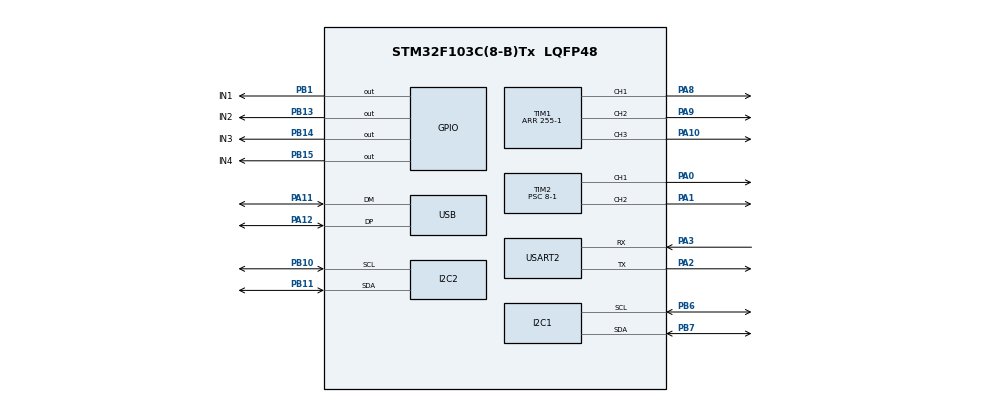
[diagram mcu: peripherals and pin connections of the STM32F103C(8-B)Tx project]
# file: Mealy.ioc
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I2C2.I2C_Mode=I2C_Fast
Mcu.Family=STM32F1
Mcu.Name=STM32F103C(8-B)Tx
Mcu.Package=LQFP48
NVIC.PriorityGroup=NVIC_PRIORITYGROUP_4
NVIC.TIM3_IRQn=true\:0\:0\:false\:false\:true\:true\:true\:true
PA0-WKUP.Signal=S_TIM2_CH1_ETR
PA1.Signal=S_TIM2_CH2
PA10.Signal=S_TIM1_CH3
PA11.Mode=Device
PA11.Signal=USB_DM
PA12.Mode=Device
PA12.Signal=USB_DP
PA2.Mode=Asynchronous
PA2.Signal=USART2_TX
PA3.Mode=Asynchronous
PA3.Signal=USART2_RX
PA8.Signal=S_TIM1_CH1
PA9.Signal=S_TIM1_CH2
PB1.GPIO_Label=IN1
PB1.Signal=GPIO_Output
PB10.Mode=I2C
PB10.Signal=I2C2_SCL
PB11.Mode=I2C
PB11.Signal=I2C2_SDA
PB13.GPIO_Label=IN2
PB13.Signal=GPIO_Output
PB14.GPIO_Label=IN3
PB14.Signal=GPIO_Output
PB15.GPIO_Label=IN4
PB15.Signal=GPIO_Output
PB6.Mode=I2C
PB6.Signal=I2C1_SCL
PB7.Mode=I2C
PB7.Signal=I2C1_SDA
PD0-OSC_IN.Mode=HSE-External-Oscillator
PD0-OSC_IN.Signal=RCC_OSC_IN
PD1-OSC_OUT.Mode=HSE-External-Oscillator
PD1-OSC_OUT.Signal=RCC_OSC_OUT
ProjectManager.HeapSize=0x200
ProjectManager.StackSize=0x400
ProjectManager.TargetToolchain=STM32CubeIDE
RCC.APB1Freq_Value=8000000
RCC.APB2CLKDivider=RCC_HCLK_DIV8
RCC.APB2Freq_Value=1000000
RCC.APB2TimFreq_Value=2000000
RCC.PLLSourceVirtualString=RCC_PLLSOURCE_HSI_DIV2
SH.S_TIM1_CH1.0=TIM1_CH1,PWM Generation1 CH1
SH.S_TIM1_CH2.0=TIM1_CH2,PWM Generation2 CH2
SH.S_TIM1_CH3.0=TIM1_CH3,PWM Generation3 CH3
SH.S_TIM2_CH1_ETR.0=TIM2_CH1,PWM Generation1 CH1
SH.S_TIM2_CH2.0=TIM2_CH2,PWM Generation2 CH2
TIM1.AutoReloadPreload=TIM_AUTORELOAD_PRELOAD_ENABLE
TIM1.Channel-PWM\ Generation1\ CH1=TIM_CHANNEL_1
TIM1.Channel-PWM\ Generation2\ CH2=TIM_CHANNEL_2
TIM1.Channel-PWM\ Generation3\ CH3=TIM_CHANNEL_3
TIM1.Period=255-1
TIM2.AutoReloadPreload=TIM_AUTORELOAD_PRELOAD_ENABLE
TIM2.Channel-PWM\ Generation1\ CH1=TIM_CHANNEL_1
TIM2.Channel-PWM\ Generation2\ CH2=TIM_CHANNEL_2
TIM2.Period=1000
TIM2.Prescaler=8-1
TIM3.AutoReloadPreload=TIM_AUTORELOAD_PRELOAD_ENABLE
TIM3.Period=1000-1
TIM3.Prescaler=8000-1
USART2.VirtualMode=VM_ASYNC
VP_SYS_VS_ND.Mode=No_Debug
VP_TIM1_VS_ClockSourceINT.Mode=Internal
VP_TIM2_VS_ClockSourceINT.Mode=Internal
VP_TIM3_VS_ClockSourceINT.Mode=Internal
board=custom

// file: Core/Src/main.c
/* USER CODE BEGIN Header */
/**
  ******************************************************************************
  * @file           : main.c
  * @brief          : Main program body
  ******************************************************************************
  * @attention
  *
  * Copyright (c) 2024 STMicroelectronics.
  * All rights reserved.
  *
  * This software is licensed under terms that can be found in the LICENSE file
  * in the root directory of this software component.
  * If no LICENSE file comes with this software, it is provided AS-IS.
  *
  ******************************************************************************
  */
/* USER CODE END Header */
#include "main.h"

/* USER CODE BEGIN Includes */
#include "MPU6050.h"
#include "motor.h"
#include "pid.h"
#include "RGB.h"
#include "ssd1306.h"
#include "fonts.h"
#include "splash_screen.h"
#include <stdio.h>
#include <stdarg.h>
#include <math.h>
#include <string.h>

/* USER CODE END Includes */

/* USER CODE BEGIN PD */

#define ONE_G 				(9.81) 	// acceleration due to gravity
#define LOOP_DELAY 			(10)	// infinite loop delay
#define SPLASH_DELAY 		2000 	// interval when displaying splash screen

// PID defines
#define MOTOR_REFERENCE 200	// define the motor reference speed
float motor_reference_angle = -4; // the imu is placed such that a change in x axis drives the tilt
//float sample_rate = 0.000125; // 0.125 ms TODO: use system clock to get sample rate
unsigned long long sampling_frequency = 8000000;

// motor defines
#define LEFT_DC_MOTOR 0
#define RIGHT_DC_MOTOR 1

// create motor PID instances
// left motor PID instance
pid_instance left_motor_pid_instance;
pid_instance* p_left_motor_instance = &left_motor_pid_instance;

// right motor PID instance
pid_instance right_motor_pid_instance;
pid_instance* p_right_motor_instance = &right_motor_pid_instance;

// RGB LED variables
// create an RGB LED instance
RGB_instance mealy_rgb;
RGB_instance* p_mealy_rgb = &mealy_rgb;

// a color struct to hold different colors
RGB_color mealy_colors;
RGB_color* p_mealy_colors = &mealy_colors;
uint8_t seconds = 0;
uint32_t last_time = 0;

/* USER CODE END PD */

I2C_HandleTypeDef hi2c1;
I2C_HandleTypeDef hi2c2;

TIM_HandleTypeDef htim1;
TIM_HandleTypeDef htim2;
TIM_HandleTypeDef htim3;

UART_HandleTypeDef huart2;

/* USER CODE BEGIN PV */
char msg[20] = "";
char mpu_data[100];
char data[40] = ""; // sd card test char array
char debug[40];

// create accelerometer struct
MPU6050 acc;
MPU6050* p_acc = &acc; // pointer to accelerometer
float x_acc_ms, y_acc_ms, z_acc_ms; // acceleration converted to m/s^2

// struct to hold both accelerometer data and the gyroscope data
typedef struct {
	float x_acc;
	float y_acc;
	float z_acc;
	float gyro_x;
	float gyro_y;
	float gyro_z;
} SensorData;

SensorData sensorData;

// use this pointer to store raw sensor data
SensorData* p_SensorData = &sensorData;

// struct to hold filtered sensor data - angles to be specific
// these are angle estimates, not accurate angles
typedef struct {
	float x_angle_estimate;
	float y_angle_estimate;
	float z_angle_estimate;

} FilteredAngles;
FilteredAngles filtered_angles;
FilteredAngles* p_filtered_angles = &filtered_angles;

// variables to store the rotation angles of the sensor
unsigned long 	last_read_time = 0;
float			last_x_angle; // filtered angles
float 			last_y_angle;
float			last_z_angle;
float			last_gyro_x_angle; // store the gyro angles to compare drift
float			last_gyro_y_angle;
float 			last_gyro_z_angle;

// radians to degrees conversion factor
float RADS_TO_DEG = 180.0 / 3.14159;
float alpha = 0.96;

// function to set the current angle readings to the last read angles
void set_last_read_angle_data(
		unsigned long time,
		float x,
		float y,
		float z,
		float x_gyro,
		float y_gyro,
		float z_gyro
		) {
	last_read_time = time;
	last_x_angle = x;
	last_y_angle = y;
	last_z_angle = z;
	last_gyro_x_angle = x_gyro;
	last_gyro_y_angle = y_gyro;
	last_gyro_z_angle = z_gyro;
}

// calibration variables
float	base_x_accel;
float 	base_y_accel;
float	base_z_accel;
float 	base_x_gyro;
float	base_y_gyro;
float	base_z_gyro;

// function to callibrate sensors
void callibrate_sensor(){
	int		num_readings = 10;
	float 	x_accel = 0;
	float	y_accel = 0;
	float 	z_accel	= 0;
	float	x_gyro	= 0;
	float 	y_gyro	= 0;
	float	z_gyro	= 0;

	for(int i = 0; i < num_readings; i++){
		// read accelerometer
		MPU6050_ReadAcceleration(&acc);

		// Read gyroscope values
		MPU6050_ReadGyroscope(&acc);

		// convert accelerometer readings to m/s^2
		x_acc_ms = p_acc->acc_mps2[0] * ONE_G;
		y_acc_ms = p_acc->acc_mps2[1] * ONE_G;
		z_acc_ms = p_acc->acc_mps2[2] * ONE_G;

		x_accel += x_acc_ms;
		y_accel += y_acc_ms;
		z_accel += z_acc_ms;
		x_gyro += p_acc->gyro_data[0];
		y_gyro += p_acc->gyro_data[1];
		z_gyro += p_acc->gyro_data[2];

		HAL_Delay(100);

	}

	// average the readings
	x_accel /= num_readings;
	y_accel /= num_readings;
	z_accel /= num_readings;
	x_gyro /= num_readings;
	y_gyro /= num_readings;
	z_gyro /= num_readings;

	// Store the raw calibration values globally
	base_x_accel = x_accel;
	base_y_accel = y_accel;
	base_z_accel = z_accel;
	base_x_gyro = x_gyro;
	base_y_gyro = y_gyro;
	base_z_gyro = z_gyro;

	myPrintf("Callibration done!\r");

}

/* USER CODE END PV */

void SystemClock_Config(void);
static void MX_GPIO_Init(void);
static void MX_I2C1_Init(void);
static void MX_TIM2_Init(void);
static void MX_USART2_UART_Init(void);
static void MX_TIM1_Init(void);
static void MX_TIM3_Init(void);
static void MX_I2C2_Init(void);
/* USER CODE BEGIN PFP */
void myPrintf(const char *fmt, ...); // function to send formatted data over serial
void setDutyCycle(int dutyCycle); // function to set PWM duty cycle

// OLED
// display on start screen sequence before I start running
void sayHello();

/* USER CODE END PFP */

/* USER CODE BEGIN 0 */
void myPrintf(const char* fmt, ...){
	static char buffer[256];
	va_list args;
	va_start(args, fmt);
	vsnprintf(buffer, sizeof(buffer), fmt, args);
	va_end(args);

	int len = strlen(buffer);
	HAL_UART_Transmit(&huart2, (uint8_t*)buffer, len, -1);
}

void sayHello() {

	// display logo bitmap
	SSD1306_Clear();
	SSD1306_DrawBitmap(0,0,splash_screen,128,64,1);
	SSD1306_UpdateScreen();

	HAL_Delay(SPLASH_DELAY);

	// hello world message
	SSD1306_Clear();
	SSD1306_GotoXY (30, 20);
	SSD1306_Puts ("Hello", &Font_11x18, 1);
	SSD1306_GotoXY (20, 40);
	SSD1306_Puts ("world :)", &Font_11x18, 1);
	SSD1306_UpdateScreen(); //display

	HAL_Delay(SPLASH_DELAY);

	// introduction
	SSD1306_Clear();
	SSD1306_GotoXY(15, 16);
	SSD1306_Puts("My name is", &Font_11x18, 1);
	SSD1306_GotoXY(25, 35);
	SSD1306_Puts("Mealy...", &Font_11x18, 1);
	SSD1306_UpdateScreen(); //display

	HAL_Delay(SPLASH_DELAY);

	SSD1306_Clear();
	SSD1306_GotoXY(20, 16);
	SSD1306_Puts("A self ",&Font_11x18 , 1);
	SSD1306_GotoXY(10, 38);
	SSD1306_Puts("balancing",&Font_11x18, 1);
	SSD1306_UpdateScreen(); //display

	HAL_Delay(SPLASH_DELAY);

	SSD1306_Clear();
	SSD1306_GotoXY(40, 25);
	SSD1306_Puts("robot...", &Font_11x18, 1);
	SSD1306_UpdateScreen(); //display

	HAL_Delay(SPLASH_DELAY);

	SSD1306_Clear();
	SSD1306_DrawBitmap(0,0,powered_by,128,64,1);
	SSD1306_UpdateScreen();

	HAL_Delay(SPLASH_DELAY);

}

/* USER CODE END 0 */

int main(void)
{

  /* MCU Configuration--------------------------------------------------------*/

  /* Reset of all peripherals, Initializes the Flash interface and the Systick. */
  HAL_Init();

  /* Configure the system clock */
  SystemClock_Config();

  /* Initialize all configured peripherals */
  MX_GPIO_Init();
  MX_I2C1_Init();
  MX_TIM2_Init();
  MX_USART2_UART_Init();
  MX_TIM1_Init();
  MX_TIM3_Init();
  MX_I2C2_Init();
  /* USER CODE BEGIN 2 */

  // start motors
  motor_init(LEFT_DC_MOTOR);
  motor_init(RIGHT_DC_MOTOR);
  motor_start(LEFT_DC_MOTOR, CW, 0);
  motor_start(RIGHT_DC_MOTOR, CW, 0);

  // set pID gains
  set_pid(p_left_motor_instance, 90, 700, 0.5);
  set_pid(p_right_motor_instance, 90, 700, 0.5);

  /*-------------------------INERTIAL MEASUREMENT UNIT FUNCTIONS--------------------------------*/
  MPU6050_Initialise(&acc, &hi2c1); // TODO: check initialization status here

  // calibrate the sensor
  callibrate_sensor();

  // initialize the sensor angles to known values
  set_last_read_angle_data(HAL_GetTick(), 0, 0, 0, 0, 0, 0);

  //-------------RGB---------------------

  // timer to generate 1 second pulses - used to run RGB time state machine
	HAL_TIM_Base_Start_IT(&htim3);
	TIM3->CCR1 = 500; // set timer 3 duty cycle to 50%

	// set parameters for RGB LED
	// for setting fade interval
	last_time = HAL_GetTick();

	RGB_set_parameters(p_mealy_rgb, &htim1, last_time);

	RGB_init(p_mealy_rgb);

	RGB_color_code white = WHITE;
	RGB_color_code green = GREEN;
	RGB_color_code red = RED;

	p_mealy_colors->red_value = 0;
	p_mealy_colors->green_value = 0;
	p_mealy_colors->blue_value = 255;

	// initialize OLED screen
	SSD1306_Init();

	sayHello();

  /* USER CODE END 2 */

  /* Infinite loop */
  while (1)
  {

    /* USER CODE BEGIN 3 */

	  // read accelerometer values
	  	MPU6050_ReadAcceleration(&acc);

	  	// Read gyroscope values
	  	MPU6050_ReadGyroscope(&acc);

	  	// convert accelerometer readings to m/s^2
	  	x_acc_ms = p_acc->acc_mps2[0] * ONE_G;
	  	y_acc_ms = p_acc->acc_mps2[1] * ONE_G;
	  	z_acc_ms = p_acc->acc_mps2[2] * ONE_G;

	  	/*-------------- get orientation - tilt on x and y axis */

	  	// get the time of reading for rotation computations
	  	unsigned long t_now = HAL_GetTick();

	  	// set accelerometer data
	  	p_SensorData->x_acc = x_acc_ms;
	  	p_SensorData->y_acc = y_acc_ms;
	  	p_SensorData->z_acc = z_acc_ms;

	  	// these gyro values are in degrees per second
	  	p_SensorData->gyro_x = p_acc->gyro_data[0] - base_x_gyro;
	  	p_SensorData->gyro_y = p_acc->gyro_data[1] - base_y_gyro;
	  	p_SensorData->gyro_z = p_acc->gyro_data[2] - base_z_gyro;

	    // compute angles from the accelerometer
	  	float accel_angle_y = atan(-1 * p_SensorData->x_acc/sqrt(pow(p_SensorData->y_acc, 2) + pow(p_SensorData->z_acc, 2))) * RADS_TO_DEG;
	  	float accel_angle_x = atan(p_SensorData->y_acc / sqrt( pow(p_SensorData->x_acc, 2) + pow(p_SensorData->z_acc, 2) )) * RADS_TO_DEG;
	  	//float accel_angle_z = 0;

	  	float dt = (t_now - last_read_time) / 1000.0 ; // last read time in seconds

	  	// compute the filtered gyro angles
	  	float gyro_angle_x = p_SensorData->gyro_x * dt + last_x_angle;
	  	float gyro_angle_y = p_SensorData->gyro_y * dt + last_y_angle;
	  	float gyro_angle_z = p_SensorData->gyro_z * dt + last_z_angle;

	  	/* Apply complementary filter */
	  	p_filtered_angles->x_angle_estimate = alpha * gyro_angle_x + (1 - alpha) * (accel_angle_x);
	  	p_filtered_angles->y_angle_estimate = alpha * gyro_angle_y + (1 - alpha) * (accel_angle_y);
	  	p_filtered_angles->z_angle_estimate = gyro_angle_z; // accelerometer doesn't give z-angle

	  	// update the saved data with the latest values
	  	set_last_read_angle_data(
	  			t_now,
	  			p_filtered_angles->x_angle_estimate,
	  			p_filtered_angles->y_angle_estimate,
	  			p_filtered_angles->z_angle_estimate,
	  			gyro_angle_x,
	  			gyro_angle_y,
	  			gyro_angle_z
	  			);

	  	// according to how i've mounted the MPU, i'm interested in x-axis angle
	  	sprintf(mpu_data,
	  			"x: %.2f\r\n",
				p_filtered_angles->x_angle_estimate
	  			);

	  	// run motors
	  	apply_pid(p_left_motor_instance, motor_reference_angle - p_filtered_angles->x_angle_estimate,  sampling_frequency);
	  	apply_pid(p_right_motor_instance, motor_reference_angle - p_filtered_angles->x_angle_estimate, sampling_frequency);

	  	if(p_left_motor_instance->output < 0 ) {

//	  		sprintf(debug, "l-cw:%d\r\n", p_left_motor_instance->output);
//	  		HAL_UART_Transmit(&huart2, (uint8_t*)debug, 20, 100);

	  		motor_set_dir(LEFT_DC_MOTOR, CW);
	  		motor_set_speed(LEFT_DC_MOTOR, p_left_motor_instance->output * -1);
	  	}
	  	if (p_right_motor_instance->output < 0 ) {

//	  		sprintf(debug, "r-cw:%d\r\n", p_right_motor_instance->output);
//	  		HAL_UART_Transmit(&huart2, (uint8_t*)debug, 20, 100);

	  		motor_set_dir(RIGHT_DC_MOTOR, CW);
	  		motor_set_speed(RIGHT_DC_MOTOR, p_right_motor_instance->output * -1);
	  	}

	  	if(p_left_motor_instance->output > 0 ) {

			motor_set_dir(LEFT_DC_MOTOR, CCW);
			motor_set_speed(LEFT_DC_MOTOR, p_left_motor_instance->output);
		}

	  	if (p_right_motor_instance->output > 0 ) {
//	  		sprintf(debug, "r-ccw:%d\r\n", p_right_motor_instance->output);
//	  		HAL_UART_Transmit(&huart2, (uint8_t*)debug, 20, 100);

			motor_set_dir(RIGHT_DC_MOTOR, CCW);
			motor_set_speed(RIGHT_DC_MOTOR, p_right_motor_instance->output);
		}

		//---------------RGB-----------------
		// change pulse color after set time interval
	  if(seconds < 15) {
		  // pulse a different color
		  // fade white
		  pulse(p_mealy_rgb, red, last_time);

	  } else if(seconds < 30) {
		  // fade green
		  pulse(p_mealy_rgb, green, last_time);
	  } else if(seconds > 30) {
		  // fade red
		  pulse(p_mealy_rgb, white , last_time);
	  }

	  if(seconds == 60) {

		  // reset seconds counter every minute
		  seconds = 0;
	  }

	  HAL_UART_Transmit(&huart2, (uint8_t*)mpu_data, 100, 100);

  }
  /* USER CODE END 3 */
}

void SystemClock_Config(void)
{
  RCC_OscInitTypeDef RCC_OscInitStruct = {0};
  RCC_ClkInitTypeDef RCC_ClkInitStruct = {0};

  /** Initializes the RCC Oscillators according to the specified parameters
  * in the RCC_OscInitTypeDef structure.
  */
  RCC_OscInitStruct.OscillatorType = RCC_OSCILLATORTYPE_HSI;
  RCC_OscInitStruct.HSIState = RCC_HSI_ON;
  RCC_OscInitStruct.HSICalibrationValue = RCC_HSICALIBRATION_DEFAULT;
  RCC_OscInitStruct.PLL.PLLState = RCC_PLL_NONE;
  if (HAL_RCC_OscConfig(&RCC_OscInitStruct) != HAL_OK)
  {
    Error_Handler();
  }

  /** Initializes the CPU, AHB and APB buses clocks
  */
  RCC_ClkInitStruct.ClockType = RCC_CLOCKTYPE_HCLK|RCC_CLOCKTYPE_SYSCLK
                              |RCC_CLOCKTYPE_PCLK1|RCC_CLOCKTYPE_PCLK2;
  RCC_ClkInitStruct.SYSCLKSource = RCC_SYSCLKSOURCE_HSI;
  RCC_ClkInitStruct.AHBCLKDivider = RCC_SYSCLK_DIV1;
  RCC_ClkInitStruct.APB1CLKDivider = RCC_HCLK_DIV1;
  RCC_ClkInitStruct.APB2CLKDivider = RCC_HCLK_DIV8;

  if (HAL_RCC_ClockConfig(&RCC_ClkInitStruct, FLASH_LATENCY_0) != HAL_OK)
  {
    Error_Handler();
  }
}

static void MX_I2C1_Init(void)
{

  hi2c1.Instance = I2C1;
  hi2c1.Init.ClockSpeed = 100000;
  hi2c1.Init.DutyCycle = I2C_DUTYCYCLE_2;
  hi2c1.Init.OwnAddress1 = 0;
  hi2c1.Init.AddressingMode = I2C_ADDRESSINGMODE_7BIT;
  hi2c1.Init.DualAddressMode = I2C_DUALADDRESS_DISABLE;
  hi2c1.Init.OwnAddress2 = 0;
  hi2c1.Init.GeneralCallMode = I2C_GENERALCALL_DISABLE;
  hi2c1.Init.NoStretchMode = I2C_NOSTRETCH_DISABLE;
  if (HAL_I2C_Init(&hi2c1) != HAL_OK)
  {
    Error_Handler();
  }

}

static void MX_I2C2_Init(void)
{

  hi2c2.Instance = I2C2;
  hi2c2.Init.ClockSpeed = 400000;
  hi2c2.Init.DutyCycle = I2C_DUTYCYCLE_2;
  hi2c2.Init.OwnAddress1 = 0;
  hi2c2.Init.AddressingMode = I2C_ADDRESSINGMODE_7BIT;
  hi2c2.Init.DualAddressMode = I2C_DUALADDRESS_DISABLE;
  hi2c2.Init.OwnAddress2 = 0;
  hi2c2.Init.GeneralCallMode = I2C_GENERALCALL_DISABLE;
  hi2c2.Init.NoStretchMode = I2C_NOSTRETCH_DISABLE;
  if (HAL_I2C_Init(&hi2c2) != HAL_OK)
  {
    Error_Handler();
  }

}

static void MX_TIM1_Init(void)
{

  TIM_ClockConfigTypeDef sClockSourceConfig = {0};
  TIM_MasterConfigTypeDef sMasterConfig = {0};
  TIM_OC_InitTypeDef sConfigOC = {0};
  TIM_BreakDeadTimeConfigTypeDef sBreakDeadTimeConfig = {0};

  htim1.Instance = TIM1;
  htim1.Init.Prescaler = 0;
  htim1.Init.CounterMode = TIM_COUNTERMODE_UP;
  htim1.Init.Period = 255-1;
  htim1.Init.ClockDivision = TIM_CLOCKDIVISION_DIV1;
  htim1.Init.RepetitionCounter = 0;
  htim1.Init.AutoReloadPreload = TIM_AUTORELOAD_PRELOAD_ENABLE;
  if (HAL_TIM_Base_Init(&htim1) != HAL_OK)
  {
    Error_Handler();
  }
  sClockSourceConfig.ClockSource = TIM_CLOCKSOURCE_INTERNAL;
  if (HAL_TIM_ConfigClockSource(&htim1, &sClockSourceConfig) != HAL_OK)
  {
    Error_Handler();
  }
  if (HAL_TIM_PWM_Init(&htim1) != HAL_OK)
  {
    Error_Handler();
  }
  sMasterConfig.MasterOutputTrigger = TIM_TRGO_RESET;
  sMasterConfig.MasterSlaveMode = TIM_MASTERSLAVEMODE_DISABLE;
  if (HAL_TIMEx_MasterConfigSynchronization(&htim1, &sMasterConfig) != HAL_OK)
  {
    Error_Handler();
  }
  sConfigOC.OCMode = TIM_OCMODE_PWM1;
  sConfigOC.Pulse = 0;
  sConfigOC.OCPolarity = TIM_OCPOLARITY_HIGH;
  sConfigOC.OCNPolarity = TIM_OCNPOLARITY_HIGH;
  sConfigOC.OCFastMode = TIM_OCFAST_DISABLE;
  sConfigOC.OCIdleState = TIM_OCIDLESTATE_RESET;
  sConfigOC.OCNIdleState = TIM_OCNIDLESTATE_RESET;
  if (HAL_TIM_PWM_ConfigChannel(&htim1, &sConfigOC, TIM_CHANNEL_1) != HAL_OK)
  {
    Error_Handler();
  }
  if (HAL_TIM_PWM_ConfigChannel(&htim1, &sConfigOC, TIM_CHANNEL_2) != HAL_OK)
  {
    Error_Handler();
  }
  if (HAL_TIM_PWM_ConfigChannel(&htim1, &sConfigOC, TIM_CHANNEL_3) != HAL_OK)
  {
    Error_Handler();
  }
  sBreakDeadTimeConfig.OffStateRunMode = TIM_OSSR_DISABLE;
  sBreakDeadTimeConfig.OffStateIDLEMode = TIM_OSSI_DISABLE;
  sBreakDeadTimeConfig.LockLevel = TIM_LOCKLEVEL_OFF;
  sBreakDeadTimeConfig.DeadTime = 0;
  sBreakDeadTimeConfig.BreakState = TIM_BREAK_DISABLE;
  sBreakDeadTimeConfig.BreakPolarity = TIM_BREAKPOLARITY_HIGH;
  sBreakDeadTimeConfig.AutomaticOutput = TIM_AUTOMATICOUTPUT_DISABLE;
  if (HAL_TIMEx_ConfigBreakDeadTime(&htim1, &sBreakDeadTimeConfig) != HAL_OK)
  {
    Error_Handler();
  }
  HAL_TIM_MspPostInit(&htim1);

}

static void MX_TIM2_Init(void)
{

  TIM_ClockConfigTypeDef sClockSourceConfig = {0};
  TIM_MasterConfigTypeDef sMasterConfig = {0};
  TIM_OC_InitTypeDef sConfigOC = {0};

  htim2.Instance = TIM2;
  htim2.Init.Prescaler = 8-1;
  htim2.Init.CounterMode = TIM_COUNTERMODE_UP;
  htim2.Init.Period = 1000;
  htim2.Init.ClockDivision = TIM_CLOCKDIVISION_DIV1;
  htim2.Init.AutoReloadPreload = TIM_AUTORELOAD_PRELOAD_ENABLE;
  if (HAL_TIM_Base_Init(&htim2) != HAL_OK)
  {
    Error_Handler();
  }
  sClockSourceConfig.ClockSource = TIM_CLOCKSOURCE_INTERNAL;
  if (HAL_TIM_ConfigClockSource(&htim2, &sClockSourceConfig) != HAL_OK)
  {
    Error_Handler();
  }
  if (HAL_TIM_PWM_Init(&htim2) != HAL_OK)
  {
    Error_Handler();
  }
  sMasterConfig.MasterOutputTrigger = TIM_TRGO_RESET;
  sMasterConfig.MasterSlaveMode = TIM_MASTERSLAVEMODE_DISABLE;
  if (HAL_TIMEx_MasterConfigSynchronization(&htim2, &sMasterConfig) != HAL_OK)
  {
    Error_Handler();
  }
  sConfigOC.OCMode = TIM_OCMODE_PWM1;
  sConfigOC.Pulse = 0;
  sConfigOC.OCPolarity = TIM_OCPOLARITY_HIGH;
  sConfigOC.OCFastMode = TIM_OCFAST_DISABLE;
  if (HAL_TIM_PWM_ConfigChannel(&htim2, &sConfigOC, TIM_CHANNEL_1) != HAL_OK)
  {
    Error_Handler();
  }
  if (HAL_TIM_PWM_ConfigChannel(&htim2, &sConfigOC, TIM_CHANNEL_2) != HAL_OK)
  {
    Error_Handler();
  }
  HAL_TIM_MspPostInit(&htim2);

}

static void MX_TIM3_Init(void)
{

  TIM_ClockConfigTypeDef sClockSourceConfig = {0};
  TIM_MasterConfigTypeDef sMasterConfig = {0};

  htim3.Instance = TIM3;
  htim3.Init.Prescaler = 8000-1;
  htim3.Init.CounterMode = TIM_COUNTERMODE_UP;
  htim3.Init.Period = 1000-1;
  htim3.Init.ClockDivision = TIM_CLOCKDIVISION_DIV1;
  htim3.Init.AutoReloadPreload = TIM_AUTORELOAD_PRELOAD_ENABLE;
  if (HAL_TIM_Base_Init(&htim3) != HAL_OK)
  {
    Error_Handler();
  }
  sClockSourceConfig.ClockSource = TIM_CLOCKSOURCE_INTERNAL;
  if (HAL_TIM_ConfigClockSource(&htim3, &sClockSourceConfig) != HAL_OK)
  {
    Error_Handler();
  }
  sMasterConfig.MasterOutputTrigger = TIM_TRGO_RESET;
  sMasterConfig.MasterSlaveMode = TIM_MASTERSLAVEMODE_DISABLE;
  if (HAL_TIMEx_MasterConfigSynchronization(&htim3, &sMasterConfig) != HAL_OK)
  {
    Error_Handler();
  }

}

static void MX_USART2_UART_Init(void)
{

  huart2.Instance = USART2;
  huart2.Init.BaudRate = 115200;
  huart2.Init.WordLength = UART_WORDLENGTH_8B;
  huart2.Init.StopBits = UART_STOPBITS_1;
  huart2.Init.Parity = UART_PARITY_NONE;
  huart2.Init.Mode = UART_MODE_TX_RX;
  huart2.Init.HwFlowCtl = UART_HWCONTROL_NONE;
  huart2.Init.OverSampling = UART_OVERSAMPLING_16;
  if (HAL_UART_Init(&huart2) != HAL_OK)
  {
    Error_Handler();
  }

}

static void MX_GPIO_Init(void)
{
  GPIO_InitTypeDef GPIO_InitStruct = {0};

  /* GPIO Ports Clock Enable */
  __HAL_RCC_GPIOD_CLK_ENABLE();
  __HAL_RCC_GPIOA_CLK_ENABLE();
  __HAL_RCC_GPIOB_CLK_ENABLE();

  /*Configure GPIO pin Output Level */
  HAL_GPIO_WritePin(GPIOB, IN1_Pin|IN2_Pin|IN3_Pin|IN4_Pin, GPIO_PIN_RESET);

  /*Configure GPIO pins : IN1_Pin IN2_Pin IN3_Pin IN4_Pin */
  GPIO_InitStruct.Pin = IN1_Pin|IN2_Pin|IN3_Pin|IN4_Pin;
  GPIO_InitStruct.Mode = GPIO_MODE_OUTPUT_PP;
  GPIO_InitStruct.Pull = GPIO_NOPULL;
  GPIO_InitStruct.Speed = GPIO_SPEED_FREQ_LOW;
  HAL_GPIO_Init(GPIOB, &GPIO_InitStruct);

}

/* USER CODE BEGIN 4 */
void HAL_TIM_PeriodElapsedCallback(TIM_HandleTypeDef *htim) {
	seconds++;
}

/* USER CODE END 4 */

void Error_Handler(void)
{
  __disable_irq();
  while (1)
  {
  }
}
